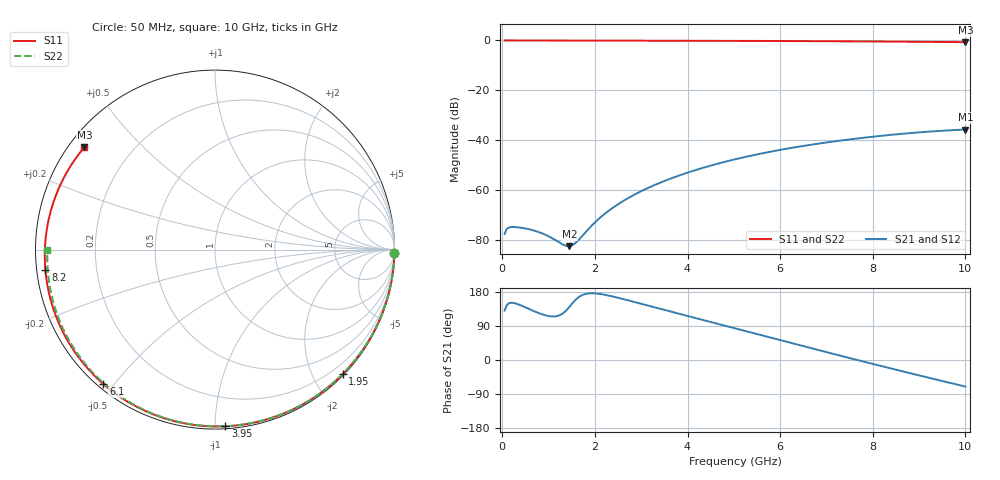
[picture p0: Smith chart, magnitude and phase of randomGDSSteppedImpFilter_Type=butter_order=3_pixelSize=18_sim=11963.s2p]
! freq	dB(S11)	phase(S11)	dB(S12)	phase(S12)
!  dB(S21)	phase(S21)	dB(S22)	phase(S22)
!S-par simulation data
#  GHz  S  DB  R 50
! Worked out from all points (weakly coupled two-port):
!   200 points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, 50 MHz to 10 GHz, reference 50 ohm
!   highest |S21| = -35.77 dB at 10 GHz (marker M1); lowest = -82.6 dB at 1.45 GHz (marker M2)
!   lowest |S11| = -0.7 dB at 10 GHz (marker M3), VSWR 25.56, Z = 2.19 + j17.2 ohm
!   |S11| at or under -10 dB: nowhere
!   |S22| runs from -0.6 to 0.0 dB; largest |S21 - S12| = 0
!   S11 on the Smith chart (normalised r, x): 50 MHz: 0, -99; 1.95 GHz: 0.02, -2.46; 3.95 GHz: 0.01, -1.06; 6.1 GHz: 0.02, -0.47; 8.2 GHz: 0.02, -0.06; 10 GHz: 0.04, +0.34
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0.05  -0.00 -1.2  -77.66 130.4  -77.66 130.4  -0.00 -1.0
0.1  -0.00 -2.3  -75.56 145.4  -75.56 145.4  -0.00 -2.0
0.3  -0.00 -6.9  -74.95 148.7  -74.95 148.7  -0.00 -6.0
0.75  -0.02 -17.3  -76.70 125.6  -76.70 125.6  -0.02 -15.0
1.15  -0.03 -26.3  -80.18 115.3  -80.18 115.3  -0.03 -22.9
1.45  -0.04 -33.1  -82.59 140.3  -82.59 140.3  -0.04 -28.7
1.65  -0.05 -37.5  -80.04 165.9  -80.04 165.9  -0.04 -32.6
1.75  -0.05 -39.8  -77.97 172.5  -77.97 172.5  -0.04 -34.5
1.95  -0.06 -44.2  -73.96 176.1  -73.96 176.1  -0.05 -38.4
2.25  -0.06 -50.8  -69.05 171.2  -69.05 171.2  -0.06 -44.1
2.55  -0.07 -57.3  -65.16 162.7  -65.16 162.7  -0.06 -49.8
2.95  -0.09 -65.8  -60.98 150.0  -60.98 150.0  -0.07 -57.3
3.4  -0.10 -75.3  -57.17 135.4  -57.17 135.4  -0.09 -65.5
3.95  -0.12 -86.7  -53.38 117.8  -53.38 117.8  -0.10 -75.4
5.05  -0.17 -108.8  -47.61 82.7  -47.61 82.7  -0.15 -94.6
6.1  -0.23 -129.7  -43.60 49.1  -43.60 49.1  -0.20 -112.4
6.7  -0.28 -141.7  -41.77 30.1  -41.77 30.1  -0.24 -122.4
7.5  -0.35 -158.2  -39.73 5.1  -39.73 5.1  -0.31 -135.7
8.2  -0.43 -173.3  -38.25 -16.4  -38.25 -16.4  -0.37 -147.6
8.35  -0.45 -176.7  -37.97 -21.0  -37.97 -21.0  -0.39 -150.1
9.2  -0.56 163.2  -36.62 -46.6  -36.62 -46.6  -0.49 -165.1
10  -0.68 141.9  -35.77 -70.1  -35.77 -70.1  -0.60 180.0
